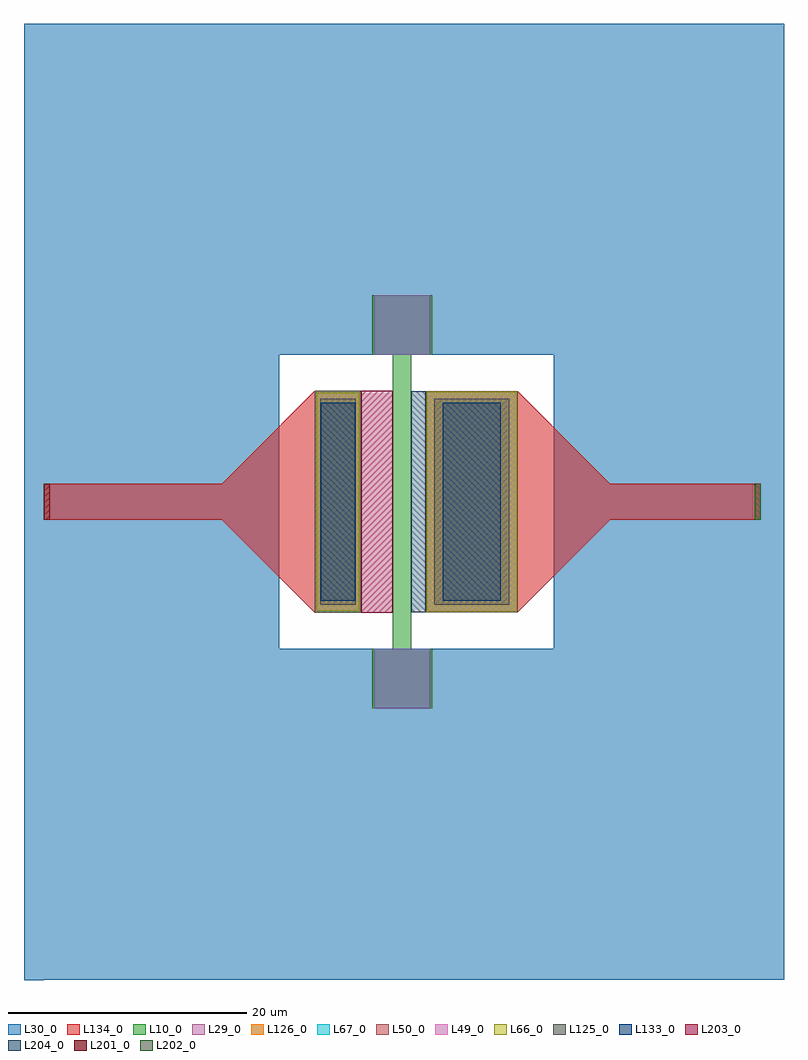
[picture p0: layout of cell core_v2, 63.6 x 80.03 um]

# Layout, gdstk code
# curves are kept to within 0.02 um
import gdstk
lib = gdstk.Library(unit=1e-6, precision=1e-09)
def R(c, l, rs):  # rectangles x0, y0, x1, y1
    for r in rs: c.add(gdstk.rectangle(r[:2], r[2:], *l))
def P(c, l, *ps):  # polygons
    for p in ps: c.add(gdstk.Polygon(p, *l))
L10_0 = (10, 0)
L29_0 = (29, 0)
L30_0 = (30, 0)
L49_0 = (49, 0)
L50_0 = (50, 0)
L66_0 = (66, 0)
L67_0 = (67, 0)
L125_0 = (125, 0)
L126_0 = (126, 0)
L133_0 = (133, 0)
L134_0 = (134, 0)
L201_0 = (201, 0)
L202_0 = (202, 0)
L203_0 = (203, 0)
L204_0 = (204, 0)

core_v2 = lib.new_cell('core_v2')
R(core_v2, L10_0, [(22.7,30.695,26.56,49.295), (31.96,30.745,39.68,49.245)])
P(core_v2, L10_0, [(27.495,22.7),(27.495,27.7),(29.215,27.695),(29.215,52.295),(27.5,52.29),(27.5,57.29),(32.5,57.29),(32.5,52.29),(30.77,52.295),(30.77,27.695),(32.495,27.7),(32.495,22.7)])
R(core_v2, L29_0, [(27.645,22.705,32.345,27.695), (32.035,30.78,39.605,49.21), (22.855,30.88,26.405,49.11), (27.65,52.295,32.35,57.285)])
R(core_v2, L30_0, [(-1.65,-0.04,0,79.995), (60,0,61.95,79.995), (22.7,30.695,26.56,49.295), (31.96,30.745,39.68,49.245)])
P(core_v2, L30_0, [(0,-0.005),(0,52.295),(27.65,52.295),(19.696,52.294),(19.696,27.696),(42.683,27.697),(42.683,52.293),(0,52.295),(0,79.995),(60,79.995),(60,-0.005)])
R(core_v2, L49_0, [(32.035,30.78,39.605,49.21), (22.855,30.88,26.405,49.11)])
R(core_v2, L50_0, [(22.7,30.695,26.56,49.295), (31.96,30.745,39.68,49.245)])
R(core_v2, L66_0, [(32.035,30.78,39.605,49.21), (22.855,30.88,26.405,49.11)])
R(core_v2, L67_0, [(22.7,30.695,26.56,49.295), (31.96,30.745,39.68,49.245)])
R(core_v2, L125_0, [(23.16,31.385,26.1,48.605), (32.67,31.385,38.97,48.605)])
R(core_v2, L126_0, [(22.7,30.695,26.56,49.295), (31.96,30.745,39.68,49.245)])
R(core_v2, L133_0, [(23.2,31.705,26.06,48.285), (33.41,31.705,38.23,48.285)])
P(core_v2, L134_0, [(31.96,30.745),(31.96,49.245),(39.68,49.245),(47.43,41.495),(60,41.495),(60,38.495),(47.43,38.495),(39.68,30.745)],
  [(22.7,30.695),(14.9,38.495),(0,38.495),(0,41.495),(14.9,41.495),(22.7,49.295),(26.56,49.295),(26.56,30.695)])
R(core_v2, L201_0, [(0,38.495,0.5,41.495)])
R(core_v2, L202_0, [(59.5,38.495,60,41.495)])
R(core_v2, L203_0, [(26.56,30.7,29.215,49.295)])
R(core_v2, L204_0, [(30.77,30.75,31.96,49.245)])

lib.write_gds('core_v2.gds')
